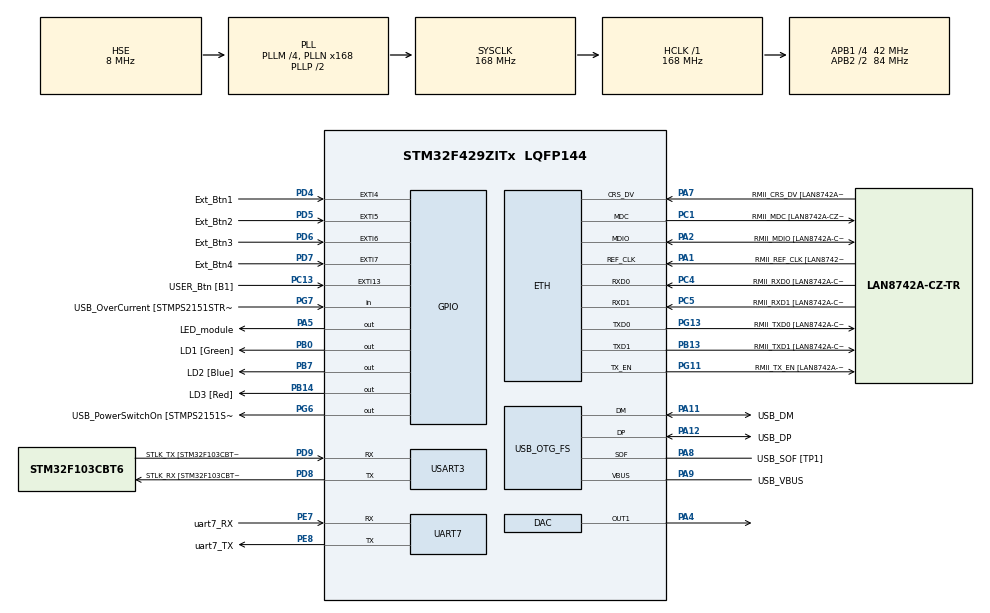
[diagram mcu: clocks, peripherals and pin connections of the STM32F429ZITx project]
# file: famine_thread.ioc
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Mcu.Family=STM32F4
RCC.CortexFreq_Value=168000000
PG6.Signal=GPIO_Output
PB14.GPIO_Label=LD3 [Red]
PG6.GPIO_Label=USB_PowerSwitchOn [STMPS2151STR_EN]
PA14.GPIO_Label=TCK
RCC.SYSCLKSourceVirtual=RCC_SYSCLKSOURCE_PLLCLK
PA11.Mode=Device_Only
PB0.GPIO_Label=LD1 [Green]
PC14/OSC32_IN.Mode=LSE-External-Oscillator
PC5.Mode=RMII
PC13.GPIO_Label=USER_Btn [B1]
PB13.GPIO_Label=RMII_TXD1 [LAN8742A-CZ-TR_TXD1]
PB13.Signal=ETH_TXD1
PD6.GPIO_Label=Ext_Btn3
PG13.Signal=ETH_TXD0
PD9.Mode=Asynchronous
PG11.Signal=ETH_TX_EN
RCC.SYSCLKSource=RCC_SYSCLKSOURCE_PLLCLK
ProjectManager.StackSize=0x400
VP_FREERTOS_VS_CMSIS_V2.Mode=CMSIS_V2
PA12.Signal=USB_OTG_FS_DP
ETH.PHY_Value=0
PH0/OSC_IN.Mode=HSE-External-Clock-Source
RCC.HCLKFreq_Value=168000000
PD4.Signal=GPXTI4
RCC.APB2TimFreq_Value=168000000
PH1/OSC_OUT.Signal=RCC_OSC_OUT
PD8.Signal=USART3_TX
RCC.AHBFreq_Value=168000000
RCC.HSE_VALUE=8000000
RCC.PLLMUL=RCC_PLL_MUL9
PC4.GPIO_Label=RMII_RXD0 [LAN8742A-CZ-TR_RXD0]
PA14.Mode=Serial_Wire
NVIC.TIM2_IRQn=true\:0\:0\:false\:false\:true\:false\:false\:true
PA10.GPIO_Label=USB_ID
PB7.Signal=GPIO_Output
PA8.Signal=USB_OTG_FS_SOF
PG13.Mode=RMII
ETH.PHY_Name=LAN8742A_PHY_ADDRESS
PH1/OSC_OUT.Mode=HSE-External-Clock-Source
PD7.GPIO_Label=Ext_Btn4
PB7.GPIO_Label=LD2 [Blue]
Mcu.Package=LQFP144
VP_SYS_VS_tim2.Mode=TIM2
NVIC.TimeBase=TIM2_IRQn
PC14/OSC32_IN.Signal=RCC_OSC32_IN
PD5.GPIO_Label=Ext_Btn2
PA2.GPIO_Label=RMII_MDIO [LAN8742A-CZ-TR_MDIO]
NVIC.TimeBaseIP=TIM2
PA10.Signal=USB_OTG_FS_ID
USB_OTG_FS.VirtualMode=Device_Only
RCC.APB2CLKDivider=RCC_HCLK_DIV2
RCC.APB1TimFreq_Value=84000000
PG11.GPIO_Label=RMII_TX_EN [LAN8742A-CZ-TR_TXEN]
PC5.Signal=ETH_RXD1
PB13.Mode=RMII
PE7.Signal=UART7_RX
PD6.Signal=GPXTI6
PC4.Mode=RMII
SH.COMP_DAC1_group.0=DAC_OUT1,DAC_OUT1
NVIC.EXTI4_IRQn=true\:0\:0\:false\:false\:true\:false\:true\:true
FREERTOS.Tasks01=GreenLED,24,128,green_led,Default,NULL,Dynamic,NULL,NULL;BlueLED,24,128,blue_led,Default,NULL,Dynamic,NULL,NULL;Red_LED,24,128,red_led,Default,NULL,Dynamic,NULL,NULL;HighPrioTask,40,128,high_task,Default,NULL,Dynamic,NULL,NULL
PA7.Mode=RMII
PG7.Signal=GPIO_Input
PD9.GPIO_Label=STLK_TX [STM32F103CBT6_PA2]
PC13.Signal=GPXTI13
PA9.GPIO_Label=USB_VBUS
PC4.Signal=ETH_RXD0
PD7.Signal=GPXTI7
PA11.GPIO_Label=USB_DM
PD9.Signal=USART3_RX
PD5.Signal=GPXTI5
UART7.VirtualMode=Asynchronous
RCC.APB1CLKDivider=RCC_HCLK_DIV4
PG13.GPIO_Label=RMII_TXD0 [LAN8742A-CZ-TR_TXD0]
ETH.PhyAddress=0
PA12.GPIO_Label=USB_DP
PD8.GPIO_Label=STLK_RX [STM32F103CBT6_PA3]
PE8.Mode=Asynchronous
PA13.Signal=SYS_JTMS-SWDIO
PA9.Mode=Activate_VBUS
PA8.GPIO_Label=USB_SOF [TP1]
ProjectManager.TargetToolchain=TrueSTUDIO
PE8.GPIO_Label=uart7_TX
PA9.Signal=USB_OTG_FS_VBUS
RCC.USBFreq_Value=48000000
PD8.Mode=Asynchronous
PA1.Signal=ETH_REF_CLK
PB14.Signal=GPIO_Output
PA5.Signal=GPIO_Output
board=NUCLEO-F429ZI
RCC.VCOOutputFreq_Value=336000000
PH0/OSC_IN.Signal=RCC_OSC_IN
RCC.APB2Freq_Value=84000000
PA1.Mode=RMII
RCC.PRESCALERUSB=RCC_USBCLKSOURCE_PLL_DIV1_5
PE8.Signal=UART7_TX
PD4.GPIO_Label=Ext_Btn1
PG7.GPIO_Label=USB_OverCurrent [STMPS2151STR_FAULT]
PA1.GPIO_Label=RMII_REF_CLK [LAN8742A-CZ-TR_REFCLK0]
PC1.GPIO_Label=RMII_MDC [LAN8742A-CZ-TR_MDC]
PA13.Mode=Serial_Wire
Mcu.Name=STM32F429ZITx
PE7.GPIO_Label=uart7_RX
PA2.Signal=ETH_MDIO
PA13.GPIO_Label=TMS
RCC.APB2TimCLKDivider=2
RCC.48MHZClocksFreq_Value=48000000
PA4.Signal=COMP_DAC1_group
RCC.SYSCLKFreq_VALUE=168000000
PE7.Mode=Asynchronous
ETH.MediaInterface=ETH_MEDIA_INTERFACE_RMII
PA7.GPIO_Label=RMII_CRS_DV [LAN8742A-CZ-TR_CRS_DV]
PA12.Mode=Device_Only
PA5.GPIO_Label=LED_module
PC5.GPIO_Label=RMII_RXD1 [LAN8742A-CZ-TR_RXD1]
USART3.VirtualMode=VM_ASYNC
PC15/OSC32_OUT.Mode=LSE-External-Oscillator
PG11.Mode=RMII
PA11.Signal=USB_OTG_FS_DM
NVIC.EXTI9_5_IRQn=true\:0\:0\:false\:false\:true\:false\:true\:true
PA14.Signal=SYS_JTCK-SWCLK
ProjectManager.HeapSize=0x200
RCC.HSI_VALUE=16000000
PH0/OSC_IN.GPIO_Label=MCO [STM32F103CBT6_PA8]
RCC.PLLQ=7
NVIC.PriorityGroup=NVIC_PRIORITYGROUP_4
RCC.PLLM=4
RCC.PLLN=168
PA2.Mode=RMII
PC15/OSC32_OUT.Signal=RCC_OSC32_OUT
PA8.Mode=Activate_SOF_FS
RCC.APB1Freq_Value=42000000
PB0.Signal=GPIO_Output
PC1.Signal=ETH_MDC
PC1.Mode=RMII
PA7.Signal=ETH_CRS_DV

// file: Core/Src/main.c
/* USER CODE BEGIN Header */
/**
 ******************************************************************************
 * @file           : main.c
 * @brief          : Main program body
 ******************************************************************************
 * @attention
 *
 * <h2><center>&copy; Copyright (c) 2020 STMicroelectronics.
 * All rights reserved.</center></h2>
 *
 * This software component is licensed by ST under Ultimate Liberty license
 * SLA0044, the "License"; You may not use this file except in compliance with
 * the License. You may obtain a copy of the License at:
 *                             www.st.com/SLA0044
 *
 ******************************************************************************
 */
/* USER CODE END Header */
#include "main.h"
#include "cmsis_os.h"

/* USER CODE BEGIN PD */
#define BLUE 1
#define GREEN 0
#define FRAME_LENGTH 1537
#define FRAME_LED 24
#define HIGHT_TIME_1 9
#define LOW_TIME_1 1
#define HIGHT_TIME_0 6
#define LOW_TIME_0 2
#define COLOR_ON 01010000
#define COLOR_OFF 00000000
#define TAB_SIZE 8
#define CODE_0 0
#define CODE_1 1
/* USER CODE END PD */

DAC_HandleTypeDef hdac;

ETH_HandleTypeDef heth;

UART_HandleTypeDef huart7;
UART_HandleTypeDef huart3;

PCD_HandleTypeDef hpcd_USB_OTG_FS;

/* Definitions for GreenLED */
osThreadId_t GreenLEDHandle;
const osThreadAttr_t GreenLED_attributes = {
		.name = "GreenLED",
		.priority = (osPriority_t) osPriorityNormal,
		.stack_size = 128 * 4
};
/* Definitions for BlueLED */
osThreadId_t BlueLEDHandle;
const osThreadAttr_t BlueLED_attributes = {
		.name = "BlueLED",
		.priority = (osPriority_t) osPriorityNormal,
		.stack_size = 128 * 4
};
/* Definitions for Red_LED */
osThreadId_t Red_LEDHandle;
const osThreadAttr_t Red_LED_attributes = {
		.name = "Red_LED",
		.priority = (osPriority_t) osPriorityNormal,
		.stack_size = 128 * 4
};
/* Definitions for HighPrioTask */
osThreadId_t HighPrioTaskHandle;
const osThreadAttr_t HighPrioTask_attributes = {
		.name = "HighPrioTask",
		.priority = (osPriority_t) osPriorityHigh,
		.stack_size = 128 * 4
};
/* USER CODE BEGIN PV */
char frame_message[6] = "YOLO\n\r";
int selected_color;
/* USER CODE END PV */

void SystemClock_Config(void);
static void MX_GPIO_Init(void);
static void MX_ETH_Init(void);
static void MX_USART3_UART_Init(void);
static void MX_USB_OTG_FS_PCD_Init(void);
static void MX_UART7_Init(void);
static void MX_DAC_Init(void);
void green_led(void *argument);
void blue_led(void *argument);
void red_led(void *argument);
void high_task(void *argument);

/* USER CODE BEGIN 0 */
//void init_matrix(void) {
//	for (int row = 0; row < TAB_SIZE; row++) {
//		for (int col = 0; col < TAB_SIZE; col++) {
//			if (col % 2){
//				matrix[row][col].GValue = COLOR_ON;
//			} else {
//				matrix[row][col].GValue = COLOR_OFF;
//			}
//			matrix[row][col].BValue = COLOR_OFF;
//			matrix[row][col].RValue = COLOR_OFF;
//		}
//	}
//}

/* USER CODE END 0 */

int main(void)
{

	/* MCU Configuration--------------------------------------------------------*/

	/* Reset of all peripherals, Initializes the Flash interface and the Systick. */
	HAL_Init();

	/* USER CODE BEGIN Init */
	selected_color = BLUE;
	/* USER CODE END Init */

	/* Configure the system clock */
	SystemClock_Config();

	/* Initialize all configured peripherals */
	MX_GPIO_Init();
	MX_ETH_Init();
	MX_USART3_UART_Init();
	MX_USB_OTG_FS_PCD_Init();
	MX_UART7_Init();
	MX_DAC_Init();
	/* USER CODE BEGIN 2 */
	//	init_matrix();
	HAL_DAC_SetValue(&hdac, DAC1_CHANNEL_1, DAC_ALIGN_12B_R, 4096);
	HAL_DAC_Start(&hdac, DAC1_CHANNEL_1);

	/* USER CODE END 2 */

	/* Init scheduler */
	osKernelInitialize();

	/* Create the thread(s) */
	/* creation of GreenLED */
	GreenLEDHandle = osThreadNew(green_led, NULL, &GreenLED_attributes);

	/* creation of BlueLED */
	BlueLEDHandle = osThreadNew(blue_led, NULL, &BlueLED_attributes);

	/* creation of Red_LED */
	Red_LEDHandle = osThreadNew(red_led, NULL, &Red_LED_attributes);

	/* creation of HighPrioTask */
	HighPrioTaskHandle = osThreadNew(high_task, NULL, &HighPrioTask_attributes);

	/* Start scheduler */
	osKernelStart();

	/* We should never get here as control is now taken by the scheduler */
	/* Infinite loop */
	while (1)
	{

	}
}

void SystemClock_Config(void)
{
	RCC_OscInitTypeDef RCC_OscInitStruct = {0};
	RCC_ClkInitTypeDef RCC_ClkInitStruct = {0};

	/** Configure the main internal regulator output voltage
	 */
	__HAL_RCC_PWR_CLK_ENABLE();
	__HAL_PWR_VOLTAGESCALING_CONFIG(PWR_REGULATOR_VOLTAGE_SCALE1);
	/** Initializes the RCC Oscillators according to the specified parameters
	 * in the RCC_OscInitTypeDef structure.
	 */
	RCC_OscInitStruct.OscillatorType = RCC_OSCILLATORTYPE_HSE;
	RCC_OscInitStruct.HSEState = RCC_HSE_BYPASS;
	RCC_OscInitStruct.PLL.PLLState = RCC_PLL_ON;
	RCC_OscInitStruct.PLL.PLLSource = RCC_PLLSOURCE_HSE;
	RCC_OscInitStruct.PLL.PLLM = 4;
	RCC_OscInitStruct.PLL.PLLN = 168;
	RCC_OscInitStruct.PLL.PLLP = RCC_PLLP_DIV2;
	RCC_OscInitStruct.PLL.PLLQ = 7;
	if (HAL_RCC_OscConfig(&RCC_OscInitStruct) != HAL_OK)
	{
		Error_Handler();
	}
	/** Initializes the CPU, AHB and APB buses clocks
	 */
	RCC_ClkInitStruct.ClockType = RCC_CLOCKTYPE_HCLK|RCC_CLOCKTYPE_SYSCLK
			|RCC_CLOCKTYPE_PCLK1|RCC_CLOCKTYPE_PCLK2;
	RCC_ClkInitStruct.SYSCLKSource = RCC_SYSCLKSOURCE_PLLCLK;
	RCC_ClkInitStruct.AHBCLKDivider = RCC_SYSCLK_DIV1;
	RCC_ClkInitStruct.APB1CLKDivider = RCC_HCLK_DIV4;
	RCC_ClkInitStruct.APB2CLKDivider = RCC_HCLK_DIV2;

	if (HAL_RCC_ClockConfig(&RCC_ClkInitStruct, FLASH_LATENCY_5) != HAL_OK)
	{
		Error_Handler();
	}
}

static void MX_DAC_Init(void)
{

	DAC_ChannelConfTypeDef sConfig = {0};

	/** DAC Initialization
	 */
	hdac.Instance = DAC;
	if (HAL_DAC_Init(&hdac) != HAL_OK)
	{
		Error_Handler();
	}
	/** DAC channel OUT1 config
	 */
	sConfig.DAC_Trigger = DAC_TRIGGER_NONE;
	sConfig.DAC_OutputBuffer = DAC_OUTPUTBUFFER_ENABLE;
	if (HAL_DAC_ConfigChannel(&hdac, &sConfig, DAC_CHANNEL_1) != HAL_OK)
	{
		Error_Handler();
	}

}

static void MX_ETH_Init(void)
{

	heth.Instance = ETH;
	heth.Init.AutoNegotiation = ETH_AUTONEGOTIATION_ENABLE;
	heth.Init.PhyAddress = LAN8742A_PHY_ADDRESS;
	heth.Init.MACAddr[0] =   0x00;
	heth.Init.MACAddr[1] =   0x80;
	heth.Init.MACAddr[2] =   0xE1;
	heth.Init.MACAddr[3] =   0x00;
	heth.Init.MACAddr[4] =   0x00;
	heth.Init.MACAddr[5] =   0x00;
	heth.Init.RxMode = ETH_RXPOLLING_MODE;
	heth.Init.ChecksumMode = ETH_CHECKSUM_BY_HARDWARE;
	heth.Init.MediaInterface = ETH_MEDIA_INTERFACE_RMII;

	if (HAL_ETH_Init(&heth) != HAL_OK)
	{
		Error_Handler();
	}

}

static void MX_UART7_Init(void)
{

	huart7.Instance = UART7;
	huart7.Init.BaudRate = 115200;
	huart7.Init.WordLength = UART_WORDLENGTH_8B;
	huart7.Init.StopBits = UART_STOPBITS_1;
	huart7.Init.Parity = UART_PARITY_NONE;
	huart7.Init.Mode = UART_MODE_TX_RX;
	huart7.Init.HwFlowCtl = UART_HWCONTROL_NONE;
	huart7.Init.OverSampling = UART_OVERSAMPLING_16;
	if (HAL_UART_Init(&huart7) != HAL_OK)
	{
		Error_Handler();
	}

}

static void MX_USART3_UART_Init(void)
{

	huart3.Instance = USART3;
	huart3.Init.BaudRate = 115200;
	huart3.Init.WordLength = UART_WORDLENGTH_8B;
	huart3.Init.StopBits = UART_STOPBITS_1;
	huart3.Init.Parity = UART_PARITY_NONE;
	huart3.Init.Mode = UART_MODE_TX_RX;
	huart3.Init.HwFlowCtl = UART_HWCONTROL_NONE;
	huart3.Init.OverSampling = UART_OVERSAMPLING_16;
	if (HAL_UART_Init(&huart3) != HAL_OK)
	{
		Error_Handler();
	}

}

static void MX_USB_OTG_FS_PCD_Init(void)
{

	hpcd_USB_OTG_FS.Instance = USB_OTG_FS;
	hpcd_USB_OTG_FS.Init.dev_endpoints = 4;
	hpcd_USB_OTG_FS.Init.speed = PCD_SPEED_FULL;
	hpcd_USB_OTG_FS.Init.dma_enable = DISABLE;
	hpcd_USB_OTG_FS.Init.phy_itface = PCD_PHY_EMBEDDED;
	hpcd_USB_OTG_FS.Init.Sof_enable = ENABLE;
	hpcd_USB_OTG_FS.Init.low_power_enable = DISABLE;
	hpcd_USB_OTG_FS.Init.lpm_enable = DISABLE;
	hpcd_USB_OTG_FS.Init.vbus_sensing_enable = ENABLE;
	hpcd_USB_OTG_FS.Init.use_dedicated_ep1 = DISABLE;
	if (HAL_PCD_Init(&hpcd_USB_OTG_FS) != HAL_OK)
	{
		Error_Handler();
	}

}

static void MX_GPIO_Init(void)
{
	GPIO_InitTypeDef GPIO_InitStruct = {0};

	/* GPIO Ports Clock Enable */
	__HAL_RCC_GPIOC_CLK_ENABLE();
	__HAL_RCC_GPIOH_CLK_ENABLE();
	__HAL_RCC_GPIOA_CLK_ENABLE();
	__HAL_RCC_GPIOB_CLK_ENABLE();
	__HAL_RCC_GPIOE_CLK_ENABLE();
	__HAL_RCC_GPIOD_CLK_ENABLE();
	__HAL_RCC_GPIOG_CLK_ENABLE();

	/*Configure GPIO pin Output Level */
	HAL_GPIO_WritePin(LED_module_GPIO_Port, LED_module_Pin, GPIO_PIN_RESET);

	/*Configure GPIO pin Output Level */
	HAL_GPIO_WritePin(GPIOB, LD1_Pin|LD3_Pin|LD2_Pin, GPIO_PIN_RESET);

	/*Configure GPIO pin Output Level */
	HAL_GPIO_WritePin(USB_PowerSwitchOn_GPIO_Port, USB_PowerSwitchOn_Pin, GPIO_PIN_RESET);

	/*Configure GPIO pin : USER_Btn_Pin */
	GPIO_InitStruct.Pin = USER_Btn_Pin;
	GPIO_InitStruct.Mode = GPIO_MODE_IT_RISING;
	GPIO_InitStruct.Pull = GPIO_NOPULL;
	HAL_GPIO_Init(USER_Btn_GPIO_Port, &GPIO_InitStruct);

	/*Configure GPIO pin : LED_module_Pin */
	GPIO_InitStruct.Pin = LED_module_Pin;
	GPIO_InitStruct.Mode = GPIO_MODE_OUTPUT_PP;
	GPIO_InitStruct.Pull = GPIO_NOPULL;
	GPIO_InitStruct.Speed = GPIO_SPEED_FREQ_LOW;
	HAL_GPIO_Init(LED_module_GPIO_Port, &GPIO_InitStruct);

	/*Configure GPIO pins : LD1_Pin LD3_Pin LD2_Pin */
	GPIO_InitStruct.Pin = LD1_Pin|LD3_Pin|LD2_Pin;
	GPIO_InitStruct.Mode = GPIO_MODE_OUTPUT_PP;
	GPIO_InitStruct.Pull = GPIO_NOPULL;
	GPIO_InitStruct.Speed = GPIO_SPEED_FREQ_LOW;
	HAL_GPIO_Init(GPIOB, &GPIO_InitStruct);

	/*Configure GPIO pin : USB_PowerSwitchOn_Pin */
	GPIO_InitStruct.Pin = USB_PowerSwitchOn_Pin;
	GPIO_InitStruct.Mode = GPIO_MODE_OUTPUT_PP;
	GPIO_InitStruct.Pull = GPIO_NOPULL;
	GPIO_InitStruct.Speed = GPIO_SPEED_FREQ_LOW;
	HAL_GPIO_Init(USB_PowerSwitchOn_GPIO_Port, &GPIO_InitStruct);

	/*Configure GPIO pin : USB_OverCurrent_Pin */
	GPIO_InitStruct.Pin = USB_OverCurrent_Pin;
	GPIO_InitStruct.Mode = GPIO_MODE_INPUT;
	GPIO_InitStruct.Pull = GPIO_NOPULL;
	HAL_GPIO_Init(USB_OverCurrent_GPIO_Port, &GPIO_InitStruct);

	/*Configure GPIO pins : Ext_Btn1_Pin Ext_Btn2_Pin Ext_Btn3_Pin Ext_Btn4_Pin */
	GPIO_InitStruct.Pin = Ext_Btn1_Pin|Ext_Btn2_Pin|Ext_Btn3_Pin|Ext_Btn4_Pin;
	GPIO_InitStruct.Mode = GPIO_MODE_IT_RISING;
	GPIO_InitStruct.Pull = GPIO_NOPULL;
	HAL_GPIO_Init(GPIOD, &GPIO_InitStruct);

	/* EXTI interrupt init*/
	HAL_NVIC_SetPriority(EXTI4_IRQn, 0, 0);
	HAL_NVIC_EnableIRQ(EXTI4_IRQn);

	HAL_NVIC_SetPriority(EXTI9_5_IRQn, 0, 0);
	HAL_NVIC_EnableIRQ(EXTI9_5_IRQn);

}

/* USER CODE BEGIN 4 */
void HAL_GPIO_EXTI_Callback(uint16_t GPIO_Pin){ // INTERRUPTION !
	if(GPIO_Pin == Ext_Btn1_Pin){
		selected_color = !selected_color;
	}
}

void reset_code(){
	HAL_GPIO_WritePin(LED_module_GPIO_Port, LED_module_Pin, 1);
	HAL_GPIO_WritePin(LED_module_GPIO_Port, LED_module_Pin, 0);
	osDelay(1);
}

//void send_frame(){
//	int timer_1_l = LOW_TIME_1;
//	int timer_1_h = HIGHT_TIME_1;
//	int timer_0_l = HIGHT_TIME_0;
//	int timer_0_h = LOW_TIME_0;
//	//reset_code();
//	for (int i=0; i<FRAME_LENGTH; i++){
//		if(frame_message[i] == CODE_1){
//			//SEND 1
//			HAL_UART_Transmit(&huart7, frame_message, FRAME_LENGTH, 10);
//			while(timer_1_h){
//				timer_1_h--;
//			}
//			HAL_UART_Transmit(&huart7, frame_message, FRAME_LENGTH, 10);
//			while(timer_1_l){
//				timer_1_l--;
//			}
//		}else{
//			//SEND 0
//			HAL_UART_Transmit(&huart7, frame_message, FRAME_LENGTH, 10);
//			while(timer_0_h){
//				timer_0_h--;
//			}
//			HAL_UART_Transmit(&huart7, frame_message, FRAME_LENGTH, 10);
//			while(timer_0_l){
//				timer_0_l--;
//			}
//		}
//	}
//}
//
//void led_module_off(void) {
//	for (int i = 0; i < FRAME_LENGTH; i++) {
//		frame_message[i] = '1';
//	}
//	//send_frame();
//}

//void add_to_frame(int *value){
//	int tmp_frame[FRAME_LENGTH];
//	int i = 0;
//	int j = 0;
//	while (frame_message[i] != '\0'){
//		tmp_frame[j] = frame_message[i];
//		i++;
//		j++;
//	}
//	i = 0;
//	while (value[i] != '\0'){
//		tmp_frame[j] = value[i];
//		i++;
//		j++;
//	}
//	tmp_frame[j] = '\0';
//	i = 0;
//	while(tmp_frame[i] != '\0'){
//		frame_message[i] = tmp_frame[i];
//		i++;
//	}
//}

//void send_to_led_module(){
//	for (int row = 0; row < TAB_SIZE; row++) {
//		for (int col = 0; col < TAB_SIZE; col++) {
//			add_to_frame(&matrix[row][col].GValue);
//			add_to_frame(&matrix[row][col].RValue);
//			add_to_frame(&matrix[row][col].BValue);
//		}
//	}
//	send_frame();
//}
/* USER CODE END 4 */

void green_led(void *argument)
{
	/* USER CODE BEGIN 5 */
	/* Infinite loop */
	for(;;)
	{
		//				if(HAL_GPIO_ReadPin(GPIOC, GPIO_PIN_13)){ // POLLING, DO NOT REPRODUCE AT HOME
		//					HAL_GPIO_TogglePin(GPIOB, LD1_Pin);
		//					osDelay(5000);
		//				}
		while(selected_color == GREEN){
			HAL_GPIO_WritePin(GPIOB, LD1_Pin, 1); // LED ON
			osDelay(250);
			HAL_GPIO_WritePin(GPIOB, LD1_Pin, 0);
			osDelay(250);
		}
		osDelay(1);
	}
	/* USER CODE END 5 */
}

void blue_led(void *argument)
{
	/* USER CODE BEGIN blue_led */
	/* Infinite loop */
	for(;;)
	{
		while(selected_color == BLUE){
			HAL_GPIO_WritePin(GPIOB, LD2_Pin, 1); // LED ON
			osDelay(250);
			HAL_GPIO_WritePin(GPIOB, LD2_Pin, 0);
			osDelay(250);
		}
		osDelay(1);
	}
	/* USER CODE END blue_led */
}

void red_led(void *argument)
{
	/* USER CODE BEGIN red_led */
	/* Infinite loop */
	for(;;)
	{
		HAL_GPIO_TogglePin(GPIOB, LD3_Pin); // LED ON
		osDelay(250);
		/* USER CODE END red_led */
	}
}

void high_task(void *argument)
{
	/* USER CODE BEGIN high_task */
	/* Infinite loop */
	for(;;)
	{
		//	send_frame();
		HAL_UART_Transmit(&huart7, (uint8_t*)frame_message, 6, 1000);
		osDelay(250);
	}
	/* USER CODE END high_task */
}

void HAL_TIM_PeriodElapsedCallback(TIM_HandleTypeDef *htim)
{
	if (htim->Instance == TIM2) {
		HAL_IncTick();
	}
}

void Error_Handler(void)
{
}

/************************ (C) COPYRIGHT STMicroelectronics *****END OF FILE****/
